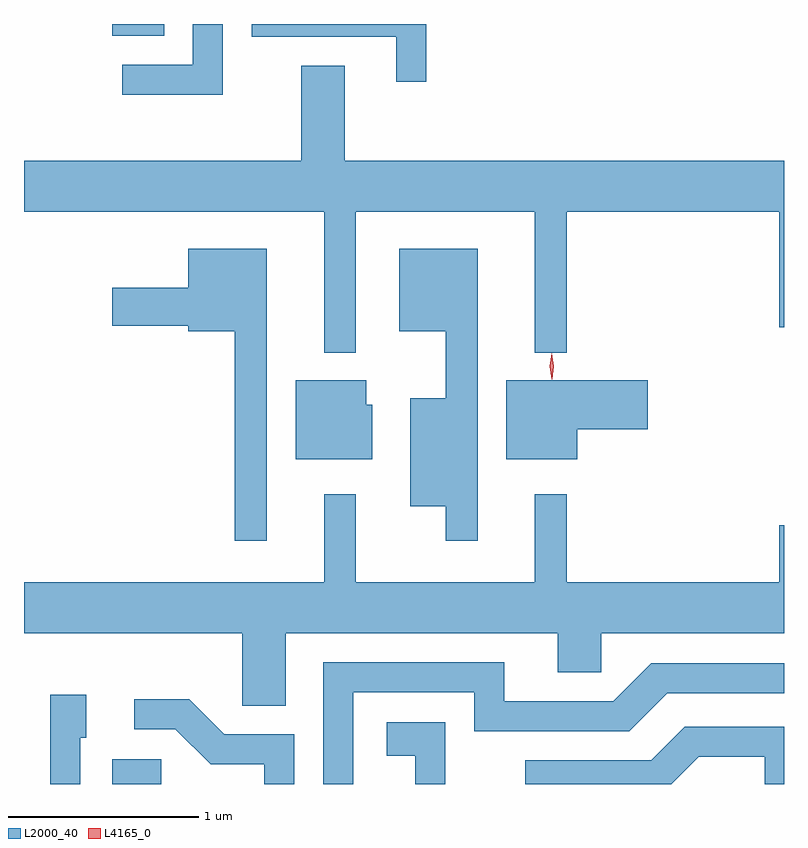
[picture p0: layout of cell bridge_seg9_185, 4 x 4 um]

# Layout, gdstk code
import gdstk
lib = gdstk.Library(unit=1e-6, precision=1e-09)
def R(c, l, rs):  # rectangles x0, y0, x1, y1
    for r in rs: c.add(gdstk.rectangle(r[:2], r[2:], *l))
def P(c, l, *ps):  # polygons
    for p in ps: c.add(gdstk.Polygon(p, *l))
L2000_40 = (2000, 40)
L4165_0 = (4165, 0)

bridge_seg9_185 = lib.new_cell('bridge_seg9_185')
R(bridge_seg9_185, L2000_40, [(1090.686,2004.343,1090.944,2004.474), (1090.686,2008.281,1090.959,2008.343)])
P(bridge_seg9_185, L2000_40, [(1092.339,2008.343),(1091.421,2008.343),(1091.421,2008.276),(1092.181,2008.276),(1092.181,2008.038),(1092.339,2008.038)],
  [(1091.269,2008.343),(1091.111,2008.343),(1091.111,2008.129),(1090.738,2008.129),(1090.738,2007.971),(1091.269,2007.971)],
  [(1091.969,2007.356),(1092.911,2007.356),(1092.911,2006.613),(1093.079,2006.613),(1093.079,2007.356),(1094.196,2007.356),(1094.196,2006.746),(1094.222,2006.746),(1094.222,2007.624),(1091.909,2007.624),(1091.909,2008.124),(1091.681,2008.124),(1091.681,2007.624),(1090.222,2007.624),(1090.222,2007.356),(1091.801,2007.356),(1091.801,2006.613),(1091.969,2006.613)],
  [(1091.499,2007.159),(1091.086,2007.159),(1091.086,2006.954),(1090.686,2006.954),(1090.686,2006.756),(1091.086,2006.756),(1091.086,2006.726),(1091.331,2006.726),(1091.331,2005.623),(1091.499,2005.623)],
  [(1092.609,2007.159),(1092.196,2007.159),(1092.196,2006.726),(1092.441,2006.726),(1092.441,2006.374),(1092.256,2006.374),(1092.256,2005.806),(1092.441,2005.806),(1092.441,2005.623),(1092.609,2005.623)],
  [(1093.134,2006.211),(1093.504,2006.211),(1093.504,2006.469),(1092.761,2006.469),(1092.761,2006.051),(1093.134,2006.051)],
  [(1092.054,2006.339),(1092.024,2006.339),(1092.024,2006.469),(1091.651,2006.469),(1091.651,2006.051),(1092.054,2006.051)],
  [(1091.599,2005.136),(1093.031,2005.136),(1093.031,2004.931),(1093.259,2004.931),(1093.259,2005.136),(1094.222,2005.136),(1094.222,2005.704),(1094.196,2005.704),(1094.196,2005.404),(1093.079,2005.404),(1093.079,2005.868),(1092.911,2005.868),(1092.911,2005.404),(1091.969,2005.404),(1091.969,2005.868),(1091.801,2005.868),(1091.801,2005.404),(1090.222,2005.404),(1090.222,2005.136),(1091.371,2005.136),(1091.371,2004.756),(1091.599,2004.756)],
  [(1091.954,2004.826),(1092.591,2004.826),(1092.591,2004.621),(1093.407,2004.621),(1093.607,2004.821),(1094.222,2004.821),(1094.222,2004.979),(1093.524,2004.979),(1093.324,2004.779),(1092.749,2004.779),(1092.749,2004.984),(1091.796,2004.984),(1091.796,2004.343),(1091.954,2004.343)],
  [(1090.519,2004.586),(1090.549,2004.586),(1090.549,2004.814),(1090.361,2004.814),(1090.361,2004.343),(1090.519,2004.343)],
  [(1091.644,2004.604),(1091.277,2004.604),(1091.092,2004.789),(1090.803,2004.789),(1090.803,2004.631),(1091.019,2004.631),(1091.204,2004.446),(1091.486,2004.446),(1091.486,2004.343),(1091.644,2004.343)],
  [(1092.439,2004.669),(1092.131,2004.669),(1092.131,2004.491),(1092.281,2004.491),(1092.281,2004.343),(1092.439,2004.343)],
  [(1093.772,2004.486),(1094.121,2004.486),(1094.121,2004.343),(1094.222,2004.343),(1094.222,2004.644),(1093.699,2004.644),(1093.524,2004.469),(1092.861,2004.469),(1092.861,2004.343),(1093.629,2004.343)])
P(bridge_seg9_185, L4165_0, [(1093,2006.474),(1093,2006.474),(1092.99,2006.542),(1092.999,2006.61),(1093,2006.61),(1093,2006.61),(1093.01,2006.542),(1093.001,2006.474)],
  [(1093,2006.48),(1093,2006.48),(1092.99,2006.543),(1092.999,2006.606),(1093,2006.607),(1093,2006.606),(1093.01,2006.543),(1093,2006.48)])

lib.write_gds('bridge_seg9_185.gds')
